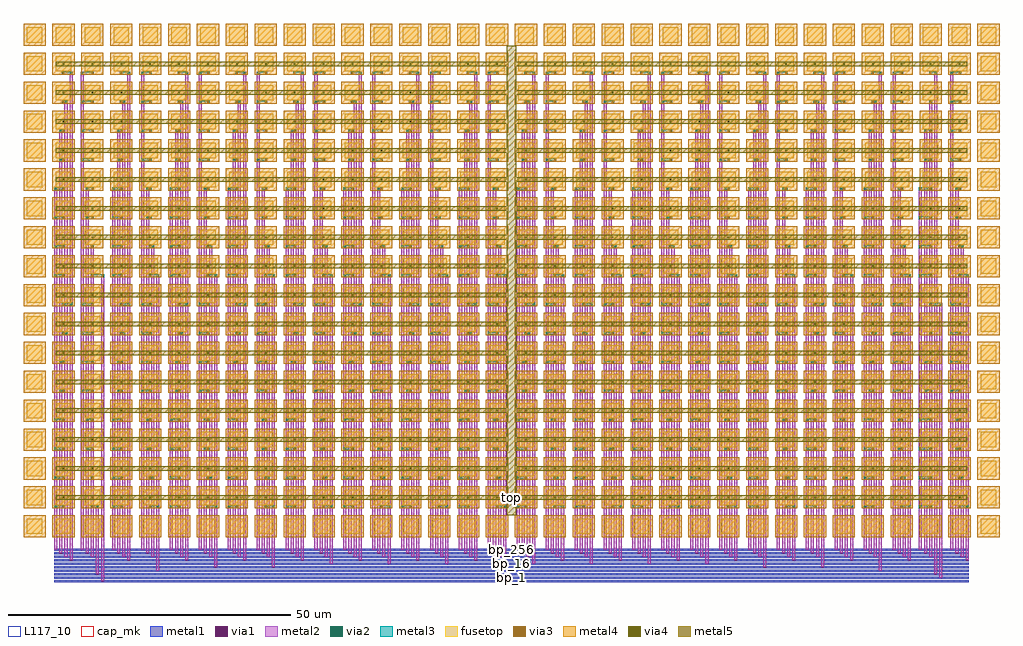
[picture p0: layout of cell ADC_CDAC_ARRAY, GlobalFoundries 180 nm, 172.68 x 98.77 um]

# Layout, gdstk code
import gdstk
lib = gdstk.Library(unit=1e-6, precision=1e-09)
def R(c, l, rs):  # rectangles x0, y0, x1, y1
    for r in rs: c.add(gdstk.rectangle(r[:2], r[2:], *l))
def A(c, l, x, y, w, h, nx, ny, dx, dy):  # array of equal rectangles
    R(c, l, [(x+i*dx, y+j*dy, x+i*dx+w, y+j*dy+h) for i in range(nx) for j in range(ny)])
metal1 = (34, 0)
via1 = (35, 0)
metal2 = (36, 0)
via2 = (38, 0)
via3 = (40, 0)
via4 = (41, 0)
metal3 = (42, 0)
metal4 = (46, 0)
fusetop = (75, 0)
metal5 = (81, 0)
cap_mk = (117, 5)
L117_10 = (117, 10)

adc_cdac_array = lib.new_cell('ADC_CDAC_ARRAY')
A(adc_cdac_array, metal1, 0.327, -13.034, 161.794, 0.34, 1, 10, 0, 0.62)
A(adc_cdac_array, via1, 49.203, -9.894, 0.26, 0.26, 4, 1, 10.228, 0)
A(adc_cdac_array, via1, 85.001, -9.894, 0.26, 0.26, 4, 1, 10.228, 0)
A(adc_cdac_array, via1, 3.177, -9.274, 0.26, 0.26, 8, 1, 10.228, 0)
A(adc_cdac_array, via1, 90.115, -9.274, 0.26, 0.26, 8, 1, 10.228, 0)
A(adc_cdac_array, via1, 12.505, -8.654, 0.26, 0.26, 28, 1, 5.114, 0)
A(adc_cdac_array, via1, 11.605, -8.034, 0.26, 0.26, 28, 1, 5.114, 0)
A(adc_cdac_array, via1, 10.705, -7.414, 0.26, 0.26, 28, 1, 5.114, 0)
R(adc_cdac_array, via1, [(8.741,-12.994,9.001,-12.734), (157.047,-12.374,157.307,-12.114), (7.841,-11.754,8.101,-11.494), (156.147,-11.754,156.407,-11.494), (18.519,-11.134,18.779,-10.874), (146.369,-11.134,146.629,-10.874), (28.747,-10.514,29.007,-10.254), (38.975,-10.514,39.235,-10.254), (125.913,-10.514,126.173,-10.254), (136.141,-10.514,136.401,-10.254), (2.277,-8.654,2.537,-8.394), (6.941,-8.654,7.201,-8.394), (155.247,-8.654,155.507,-8.394), (160.811,-8.654,161.071,-8.394), (1.377,-8.034,1.637,-7.774), (6.041,-8.034,6.301,-7.774), (154.347,-8.034,154.607,-7.774), (159.911,-8.034,160.171,-7.774), (0.477,-7.414,0.737,-7.154), (5.141,-7.414,5.401,-7.154), (153.447,-7.414,153.707,-7.154), (159.011,-7.414,159.271,-7.154)])
A(adc_cdac_array, metal2, 49.063, -9.764, 0.54, 50.976, 4, 1, 10.228, 0)
A(adc_cdac_array, metal2, 84.861, -9.764, 0.54, 86.774, 4, 1, 10.228, 0)
A(adc_cdac_array, metal2, 3.037, -9.144, 0.54, 86.154, 8, 1, 10.228, 0)
A(adc_cdac_array, metal2, 89.975, -9.144, 0.54, 50.356, 8, 1, 10.228, 0)
A(adc_cdac_array, metal2, 2.137, -8.524, 0.54, 80.42, 15, 1, 10.228, 0)
A(adc_cdac_array, metal2, 17.479, -8.524, 0.54, 54.85, 15, 1, 10.228, 0)
A(adc_cdac_array, metal2, 1.237, -7.904, 0.54, 74.686, 15, 1, 10.228, 0)
A(adc_cdac_array, metal2, 16.579, -7.904, 0.54, 64.458, 15, 1, 10.228, 0)
A(adc_cdac_array, metal2, 0.337, -7.284, 0.54, 63.838, 15, 1, 10.228, 0)
A(adc_cdac_array, metal2, 15.679, -7.284, 0.54, 84.294, 15, 1, 10.228, 0)
R(adc_cdac_array, metal2, [(8.601,-12.864,9.141,41.212), (156.907,-12.244,157.447,36.098), (7.701,-11.624,8.241,0.3), (156.007,-11.624,156.547,77.01), (18.379,-11.004,18.919,41.212), (146.229,-11.004,146.769,77.01), (28.607,-10.384,29.147,41.212), (38.835,-10.384,39.375,41.212), (125.773,-10.384,126.313,77.01), (136.001,-10.384,136.541,77.01), (6.801,-8.524,7.341,46.326), (155.107,-8.524,155.647,71.896), (5.901,-7.904,6.441,56.554), (154.207,-7.904,154.747,66.782), (5.001,-7.284,5.541,77.01), (153.307,-7.284,153.847,56.554)])
A(adc_cdac_array, via2, 0.477, 0.17, 0.26, 0.26, 1, 4, 0, 5.114)
A(adc_cdac_array, via2, 10.705, 0.17, 0.26, 0.26, 1, 4, 0, 5.114)
A(adc_cdac_array, via2, 20.933, 0.17, 0.26, 0.26, 1, 4, 0, 5.114)
A(adc_cdac_array, via2, 31.161, 0.17, 0.26, 0.26, 1, 4, 0, 5.114)
A(adc_cdac_array, via2, 41.389, 0.17, 0.26, 0.26, 1, 4, 0, 5.114)
A(adc_cdac_array, via2, 51.617, 0.17, 0.26, 0.26, 1, 4, 0, 5.114)
A(adc_cdac_array, via2, 61.845, 0.17, 0.26, 0.26, 1, 4, 0, 5.114)
A(adc_cdac_array, via2, 72.073, 0.17, 0.26, 0.26, 1, 4, 0, 5.114)
A(adc_cdac_array, via2, 82.301, 0.17, 0.26, 0.26, 1, 4, 0, 5.114)
A(adc_cdac_array, via2, 92.529, 0.17, 0.26, 0.26, 1, 4, 0, 5.114)
A(adc_cdac_array, via2, 102.757, 0.17, 0.26, 0.26, 1, 4, 0, 5.114)
A(adc_cdac_array, via2, 112.985, 0.17, 0.26, 0.26, 1, 4, 0, 5.114)
A(adc_cdac_array, via2, 123.213, 0.17, 0.26, 0.26, 1, 4, 0, 5.114)
A(adc_cdac_array, via2, 133.441, 0.17, 0.26, 0.26, 1, 4, 0, 5.114)
A(adc_cdac_array, via2, 143.669, 0.17, 0.26, 0.26, 1, 4, 0, 5.114)
A(adc_cdac_array, via2, 153.447, 0.17, 0.26, 0.26, 1, 4, 0, 5.114)
A(adc_cdac_array, via2, 5.141, 20.626, 0.26, 0.26, 1, 4, 0, 5.114)
A(adc_cdac_array, via2, 15.819, 20.626, 0.26, 0.26, 1, 4, 0, 5.114)
A(adc_cdac_array, via2, 26.047, 20.626, 0.26, 0.26, 1, 4, 0, 5.114)
A(adc_cdac_array, via2, 36.275, 20.626, 0.26, 0.26, 1, 4, 0, 5.114)
A(adc_cdac_array, via2, 46.503, 20.626, 0.26, 0.26, 1, 4, 0, 5.114)
A(adc_cdac_array, via2, 56.731, 20.626, 0.26, 0.26, 1, 4, 0, 5.114)
A(adc_cdac_array, via2, 66.959, 20.626, 0.26, 0.26, 1, 4, 0, 5.114)
A(adc_cdac_array, via2, 77.187, 20.626, 0.26, 0.26, 1, 4, 0, 5.114)
A(adc_cdac_array, via2, 87.415, 20.626, 0.26, 0.26, 1, 4, 0, 5.114)
A(adc_cdac_array, via2, 97.643, 20.626, 0.26, 0.26, 1, 4, 0, 5.114)
A(adc_cdac_array, via2, 107.871, 20.626, 0.26, 0.26, 1, 4, 0, 5.114)
A(adc_cdac_array, via2, 118.099, 20.626, 0.26, 0.26, 1, 4, 0, 5.114)
A(adc_cdac_array, via2, 128.327, 20.626, 0.26, 0.26, 1, 4, 0, 5.114)
A(adc_cdac_array, via2, 138.555, 20.626, 0.26, 0.26, 1, 4, 0, 5.114)
A(adc_cdac_array, via2, 148.783, 20.626, 0.26, 0.26, 1, 4, 0, 5.114)
A(adc_cdac_array, via2, 159.011, 20.626, 0.26, 0.26, 1, 4, 0, 5.114)
A(adc_cdac_array, via2, 0.477, 41.082, 0.26, 0.26, 1, 4, 0, 5.114)
A(adc_cdac_array, via2, 10.705, 41.082, 0.26, 0.26, 1, 4, 0, 5.114)
A(adc_cdac_array, via2, 20.933, 41.082, 0.26, 0.26, 1, 4, 0, 5.114)
A(adc_cdac_array, via2, 31.161, 41.082, 0.26, 0.26, 1, 4, 0, 5.114)
A(adc_cdac_array, via2, 41.389, 41.082, 0.26, 0.26, 1, 4, 0, 5.114)
A(adc_cdac_array, via2, 51.617, 41.082, 0.26, 0.26, 1, 4, 0, 5.114)
A(adc_cdac_array, via2, 61.845, 41.082, 0.26, 0.26, 1, 4, 0, 5.114)
A(adc_cdac_array, via2, 72.073, 41.082, 0.26, 0.26, 1, 4, 0, 5.114)
A(adc_cdac_array, via2, 82.301, 41.082, 0.26, 0.26, 1, 4, 0, 5.114)
A(adc_cdac_array, via2, 92.529, 41.082, 0.26, 0.26, 1, 4, 0, 5.114)
A(adc_cdac_array, via2, 102.757, 41.082, 0.26, 0.26, 1, 4, 0, 5.114)
A(adc_cdac_array, via2, 112.985, 41.082, 0.26, 0.26, 1, 4, 0, 5.114)
A(adc_cdac_array, via2, 123.213, 41.082, 0.26, 0.26, 1, 4, 0, 5.114)
A(adc_cdac_array, via2, 133.441, 41.082, 0.26, 0.26, 1, 4, 0, 5.114)
A(adc_cdac_array, via2, 143.669, 41.082, 0.26, 0.26, 1, 4, 0, 5.114)
A(adc_cdac_array, via2, 153.447, 41.082, 0.26, 0.26, 1, 4, 0, 5.114)
A(adc_cdac_array, via2, 5.141, 61.538, 0.26, 0.26, 1, 4, 0, 5.114)
A(adc_cdac_array, via2, 15.819, 61.538, 0.26, 0.26, 1, 4, 0, 5.114)
A(adc_cdac_array, via2, 26.047, 61.538, 0.26, 0.26, 1, 4, 0, 5.114)
A(adc_cdac_array, via2, 36.275, 61.538, 0.26, 0.26, 1, 4, 0, 5.114)
A(adc_cdac_array, via2, 46.503, 61.538, 0.26, 0.26, 1, 4, 0, 5.114)
A(adc_cdac_array, via2, 56.731, 61.538, 0.26, 0.26, 1, 4, 0, 5.114)
A(adc_cdac_array, via2, 66.959, 61.538, 0.26, 0.26, 1, 4, 0, 5.114)
A(adc_cdac_array, via2, 77.187, 61.538, 0.26, 0.26, 1, 4, 0, 5.114)
A(adc_cdac_array, via2, 87.415, 61.538, 0.26, 0.26, 1, 4, 0, 5.114)
A(adc_cdac_array, via2, 97.643, 61.538, 0.26, 0.26, 1, 4, 0, 5.114)
A(adc_cdac_array, via2, 107.871, 61.538, 0.26, 0.26, 1, 4, 0, 5.114)
A(adc_cdac_array, via2, 118.099, 61.538, 0.26, 0.26, 1, 4, 0, 5.114)
A(adc_cdac_array, via2, 128.327, 61.538, 0.26, 0.26, 1, 4, 0, 5.114)
A(adc_cdac_array, via2, 138.555, 61.538, 0.26, 0.26, 1, 4, 0, 5.114)
A(adc_cdac_array, via2, 148.783, 61.538, 0.26, 0.26, 1, 4, 0, 5.114)
A(adc_cdac_array, via2, 159.011, 61.538, 0.26, 0.26, 1, 4, 0, 5.114)
R(adc_cdac_array, via2, [(7.841,0.17,8.101,0.43), (18.519,0.17,18.779,0.43), (28.747,0.17,29.007,0.43), (38.975,0.17,39.235,0.43), (49.203,0.17,49.463,0.43), (59.431,0.17,59.691,0.43), (69.659,0.17,69.919,0.43), (79.887,0.17,80.147,0.43), (90.115,0.17,90.375,0.43), (100.343,0.17,100.603,0.43), (110.571,0.17,110.831,0.43), (120.799,0.17,121.059,0.43), (131.027,0.17,131.287,0.43), (141.255,0.17,141.515,0.43), (151.483,0.17,151.743,0.43), (161.711,0.17,161.971,0.43), (6.941,5.284,7.201,5.544), (17.619,5.284,17.879,5.544), (27.847,5.284,28.107,5.544), (38.075,5.284,38.335,5.544), (48.303,5.284,48.563,5.544), (58.531,5.284,58.791,5.544), (68.759,5.284,69.019,5.544), (78.987,5.284,79.247,5.544), (89.215,5.284,89.475,5.544), (99.443,5.284,99.703,5.544), (109.671,5.284,109.931,5.544), (119.899,5.284,120.159,5.544), (130.127,5.284,130.387,5.544), (140.355,5.284,140.615,5.544), (150.583,5.284,150.843,5.544), (160.811,5.284,161.071,5.544), (6.041,10.398,6.301,10.658), (16.719,10.398,16.979,10.658), (26.947,10.398,27.207,10.658), (37.175,10.398,37.435,10.658), (47.403,10.398,47.663,10.658), (57.631,10.398,57.891,10.658), (67.859,10.398,68.119,10.658), (78.087,10.398,78.347,10.658), (88.315,10.398,88.575,10.658), (98.543,10.398,98.803,10.658), (108.771,10.398,109.031,10.658), (118.999,10.398,119.259,10.658), (129.227,10.398,129.487,10.658), (139.455,10.398,139.715,10.658), (149.683,10.398,149.943,10.658), (159.911,10.398,160.171,10.658), (6.041,15.512,6.301,15.772), (16.719,15.512,16.979,15.772), (26.947,15.512,27.207,15.772), (37.175,15.512,37.435,15.772), (47.403,15.512,47.663,15.772), (57.631,15.512,57.891,15.772), (67.859,15.512,68.119,15.772), (78.087,15.512,78.347,15.772), (88.315,15.512,88.575,15.772), (98.543,15.512,98.803,15.772), (108.771,15.512,109.031,15.772), (118.999,15.512,119.259,15.772), (129.227,15.512,129.487,15.772), (139.455,15.512,139.715,15.772), (149.683,15.512,149.943,15.772), (159.911,15.512,160.171,15.772), (1.377,20.626,1.637,20.886), (11.605,20.626,11.865,20.886), (21.833,20.626,22.093,20.886), (32.061,20.626,32.321,20.886), (42.289,20.626,42.549,20.886), (52.517,20.626,52.777,20.886), (62.745,20.626,63.005,20.886), (72.973,20.626,73.233,20.886), (83.201,20.626,83.461,20.886), (93.429,20.626,93.689,20.886), (103.657,20.626,103.917,20.886), (113.885,20.626,114.145,20.886), (124.113,20.626,124.373,20.886), (134.341,20.626,134.601,20.886), (144.569,20.626,144.829,20.886), (154.347,20.626,154.607,20.886), (1.377,25.74,1.637,26), (11.605,25.74,11.865,26), (21.833,25.74,22.093,26), (32.061,25.74,32.321,26), (42.289,25.74,42.549,26), (52.517,25.74,52.777,26), (62.745,25.74,63.005,26), (72.973,25.74,73.233,26), (83.201,25.74,83.461,26), (93.429,25.74,93.689,26), (103.657,25.74,103.917,26), (113.885,25.74,114.145,26), (124.113,25.74,124.373,26), (134.341,25.74,134.601,26), (144.569,25.74,144.829,26), (154.347,25.74,154.607,26), (2.277,30.854,2.537,31.114), (12.505,30.854,12.765,31.114), (22.733,30.854,22.993,31.114), (32.961,30.854,33.221,31.114), (43.189,30.854,43.449,31.114), (53.417,30.854,53.677,31.114), (63.645,30.854,63.905,31.114), (73.873,30.854,74.133,31.114), (84.101,30.854,84.361,31.114), (94.329,30.854,94.589,31.114), (104.557,30.854,104.817,31.114), (114.785,30.854,115.045,31.114), (125.013,30.854,125.273,31.114), (135.241,30.854,135.501,31.114), (145.469,30.854,145.729,31.114), (155.247,30.854,155.507,31.114), (3.177,35.968,3.437,36.228), (13.405,35.968,13.665,36.228), (23.633,35.968,23.893,36.228), (33.861,35.968,34.121,36.228), (44.089,35.968,44.349,36.228), (54.317,35.968,54.577,36.228), (64.545,35.968,64.805,36.228), (74.773,35.968,75.033,36.228), (85.001,35.968,85.261,36.228), (95.229,35.968,95.489,36.228), (105.457,35.968,105.717,36.228), (115.685,35.968,115.945,36.228), (125.913,35.968,126.173,36.228), (136.141,35.968,136.401,36.228), (146.369,35.968,146.629,36.228), (157.047,35.968,157.307,36.228), (8.741,41.082,9.001,41.342), (18.519,41.082,18.779,41.342), (28.747,41.082,29.007,41.342), (38.975,41.082,39.235,41.342), (49.203,41.082,49.463,41.342), (59.431,41.082,59.691,41.342), (69.659,41.082,69.919,41.342), (79.887,41.082,80.147,41.342), (90.115,41.082,90.375,41.342), (100.343,41.082,100.603,41.342), (110.571,41.082,110.831,41.342), (120.799,41.082,121.059,41.342), (131.027,41.082,131.287,41.342), (141.255,41.082,141.515,41.342), (151.483,41.082,151.743,41.342), (161.711,41.082,161.971,41.342), (6.941,46.196,7.201,46.456), (17.619,46.196,17.879,46.456), (27.847,46.196,28.107,46.456), (38.075,46.196,38.335,46.456), (48.303,46.196,48.563,46.456), (58.531,46.196,58.791,46.456), (68.759,46.196,69.019,46.456), (78.987,46.196,79.247,46.456), (89.215,46.196,89.475,46.456), (99.443,46.196,99.703,46.456), (109.671,46.196,109.931,46.456), (119.899,46.196,120.159,46.456), (130.127,46.196,130.387,46.456), (140.355,46.196,140.615,46.456), (150.583,46.196,150.843,46.456), (160.811,46.196,161.071,46.456), (6.041,51.31,6.301,51.57), (16.719,51.31,16.979,51.57), (26.947,51.31,27.207,51.57), (37.175,51.31,37.435,51.57), (47.403,51.31,47.663,51.57), (57.631,51.31,57.891,51.57), (67.859,51.31,68.119,51.57), (78.087,51.31,78.347,51.57), (88.315,51.31,88.575,51.57), (98.543,51.31,98.803,51.57), (108.771,51.31,109.031,51.57), (118.999,51.31,119.259,51.57), (129.227,51.31,129.487,51.57), (139.455,51.31,139.715,51.57), (149.683,51.31,149.943,51.57), (159.911,51.31,160.171,51.57), (6.041,56.424,6.301,56.684), (16.719,56.424,16.979,56.684), (26.947,56.424,27.207,56.684), (37.175,56.424,37.435,56.684), (47.403,56.424,47.663,56.684), (57.631,56.424,57.891,56.684), (67.859,56.424,68.119,56.684), (78.087,56.424,78.347,56.684), (88.315,56.424,88.575,56.684), (98.543,56.424,98.803,56.684), (108.771,56.424,109.031,56.684), (118.999,56.424,119.259,56.684), (129.227,56.424,129.487,56.684), (139.455,56.424,139.715,56.684), (149.683,56.424,149.943,56.684), (159.911,56.424,160.171,56.684), (1.377,61.538,1.637,61.798), (11.605,61.538,11.865,61.798), (21.833,61.538,22.093,61.798), (32.061,61.538,32.321,61.798), (42.289,61.538,42.549,61.798), (52.517,61.538,52.777,61.798), (62.745,61.538,63.005,61.798), (72.973,61.538,73.233,61.798), (83.201,61.538,83.461,61.798), (93.429,61.538,93.689,61.798), (103.657,61.538,103.917,61.798), (113.885,61.538,114.145,61.798), (124.113,61.538,124.373,61.798), (134.341,61.538,134.601,61.798), (144.569,61.538,144.829,61.798), (154.347,61.538,154.607,61.798), (1.377,66.652,1.637,66.912), (11.605,66.652,11.865,66.912), (21.833,66.652,22.093,66.912), (32.061,66.652,32.321,66.912), (42.289,66.652,42.549,66.912), (52.517,66.652,52.777,66.912), (62.745,66.652,63.005,66.912), (72.973,66.652,73.233,66.912), (83.201,66.652,83.461,66.912), (93.429,66.652,93.689,66.912), (103.657,66.652,103.917,66.912), (113.885,66.652,114.145,66.912), (124.113,66.652,124.373,66.912), (134.341,66.652,134.601,66.912), (144.569,66.652,144.829,66.912), (154.347,66.652,154.607,66.912), (2.277,71.766,2.537,72.026), (12.505,71.766,12.765,72.026), (22.733,71.766,22.993,72.026), (32.961,71.766,33.221,72.026), (43.189,71.766,43.449,72.026), (53.417,71.766,53.677,72.026), (63.645,71.766,63.905,72.026), (73.873,71.766,74.133,72.026), (84.101,71.766,84.361,72.026), (94.329,71.766,94.589,72.026), (104.557,71.766,104.817,72.026), (114.785,71.766,115.045,72.026), (125.013,71.766,125.273,72.026), (135.241,71.766,135.501,72.026), (145.469,71.766,145.729,72.026), (155.247,71.766,155.507,72.026), (3.177,76.88,3.437,77.14), (13.405,76.88,13.665,77.14), (23.633,76.88,23.893,77.14), (33.861,76.88,34.121,77.14), (44.089,76.88,44.349,77.14), (54.317,76.88,54.577,77.14), (64.545,76.88,64.805,77.14), (74.773,76.88,75.033,77.14), (85.001,76.88,85.261,77.14), (95.229,76.88,95.489,77.14), (105.457,76.88,105.717,77.14), (115.685,76.88,115.945,77.14), (125.913,76.88,126.173,77.14), (136.141,76.88,136.401,77.14), (146.369,76.88,146.629,77.14), (156.147,76.88,156.407,77.14)])
A(adc_cdac_array, via3, 1.827, 0.17, 0.26, 0.26, 32, 16, 5.114, 5.114)
A(adc_cdac_array, via4, 1.827, 1.827, 0.26, 0.26, 32, 16, 5.114, 5.114)
A(adc_cdac_array, metal3, 153.307, 0.03, 2.34, 0.54, 1, 4, 0, 5.114)
A(adc_cdac_array, metal3, 0.337, 5.144, 1.89, 0.54, 15, 3, 10.228, 5.114)
A(adc_cdac_array, metal3, 17.029, 5.144, 0.99, 0.54, 15, 2, 10.228, 40.912)
A(adc_cdac_array, metal3, 16.579, 10.258, 0.99, 0.54, 15, 2, 10.228, 5.114)
A(adc_cdac_array, metal3, 1.237, 20.486, 0.99, 0.54, 15, 2, 10.228, 5.114)
A(adc_cdac_array, metal3, 5.001, 20.486, 2.34, 0.54, 1, 4, 0, 5.114)
A(adc_cdac_array, metal3, 15.679, 20.486, 1.89, 0.54, 15, 3, 10.228, 5.114)
A(adc_cdac_array, metal3, 1.687, 30.714, 0.99, 0.54, 15, 2, 10.228, 40.912)
A(adc_cdac_array, metal3, 153.307, 40.942, 2.34, 0.54, 1, 4, 0, 5.114)
A(adc_cdac_array, metal3, 0.337, 46.056, 1.89, 0.54, 15, 3, 10.228, 5.114)
A(adc_cdac_array, metal3, 16.579, 51.17, 0.99, 0.54, 15, 2, 10.228, 5.114)
A(adc_cdac_array, metal3, 1.237, 61.398, 0.99, 0.54, 15, 2, 10.228, 5.114)
A(adc_cdac_array, metal3, 5.001, 61.398, 2.34, 0.54, 1, 4, 0, 5.114)
A(adc_cdac_array, metal3, 15.679, 61.398, 1.89, 0.54, 15, 3, 10.228, 5.114)
R(adc_cdac_array, metal3, [(0.337,0.03,2.227,0.57), (6.801,0.03,8.241,0.57), (10.565,0.03,12.455,0.57), (17.029,0.03,18.919,0.57), (20.793,0.03,22.683,0.57), (27.257,0.03,29.147,0.57), (31.021,0.03,32.911,0.57), (37.485,0.03,39.375,0.57), (41.249,0.03,43.139,0.57), (47.713,0.03,49.603,0.57), (51.477,0.03,53.367,0.57), (57.941,0.03,59.831,0.57), (61.705,0.03,63.595,0.57), (68.169,0.03,70.059,0.57), (71.933,0.03,73.823,0.57), (78.397,0.03,80.287,0.57), (82.161,0.03,84.051,0.57), (88.625,0.03,90.515,0.57), (92.389,0.03,94.279,0.57), (98.853,0.03,100.743,0.57), (102.617,0.03,104.507,0.57), (109.081,0.03,110.971,0.57), (112.845,0.03,114.735,0.57), (119.309,0.03,121.199,0.57), (123.073,0.03,124.963,0.57), (129.537,0.03,131.427,0.57), (133.301,0.03,135.191,0.57), (139.765,0.03,141.655,0.57), (143.529,0.03,145.419,0.57), (149.993,0.03,151.883,0.57), (160.221,0.03,162.111,0.57), (6.801,5.144,7.341,5.684), (5.901,10.258,7.341,10.798), (5.901,15.372,7.341,15.912), (154.207,20.486,155.647,21.026), (154.207,25.6,155.647,26.14), (155.107,30.714,155.647,31.254), (1.687,35.828,3.577,36.368), (11.915,35.828,13.805,36.368), (15.679,35.828,17.569,36.368), (22.143,35.828,24.033,36.368), (25.907,35.828,27.797,36.368), (32.371,35.828,34.261,36.368), (36.135,35.828,38.025,36.368), (42.599,35.828,44.489,36.368), (46.363,35.828,48.253,36.368), (52.827,35.828,54.717,36.368), (56.591,35.828,58.481,36.368), (63.055,35.828,64.945,36.368), (66.819,35.828,68.709,36.368), (73.283,35.828,75.173,36.368), (77.047,35.828,78.937,36.368), (83.511,35.828,85.401,36.368), (87.275,35.828,89.165,36.368), (93.739,35.828,95.629,36.368), (97.503,35.828,99.393,36.368), (103.967,35.828,105.857,36.368), (107.731,35.828,109.621,36.368), (114.195,35.828,116.085,36.368), (117.959,35.828,119.849,36.368), (124.423,35.828,126.313,36.368), (128.187,35.828,130.077,36.368), (134.651,35.828,136.541,36.368), (138.415,35.828,140.305,36.368), (144.879,35.828,146.769,36.368), (148.643,35.828,150.533,36.368), (155.107,35.828,157.447,36.368), (158.871,35.828,160.761,36.368), (0.337,40.942,2.227,41.482), (6.801,40.942,9.141,41.482), (10.565,40.942,12.455,41.482), (17.029,40.942,18.919,41.482), (20.793,40.942,22.683,41.482), (27.257,40.942,29.147,41.482), (31.021,40.942,32.911,41.482), (37.485,40.942,39.375,41.482), (41.249,40.942,43.139,41.482), (47.713,40.942,49.603,41.482), (51.477,40.942,53.367,41.482), (57.941,40.942,59.831,41.482), (61.705,40.942,63.595,41.482), (68.169,40.942,70.059,41.482), (71.933,40.942,73.823,41.482), (78.397,40.942,80.287,41.482), (82.161,40.942,84.051,41.482), (88.625,40.942,90.515,41.482), (92.389,40.942,94.279,41.482), (98.853,40.942,100.743,41.482), (102.617,40.942,104.507,41.482), (109.081,40.942,110.971,41.482), (112.845,40.942,114.735,41.482), (119.309,40.942,121.199,41.482), (123.073,40.942,124.963,41.482), (129.537,40.942,131.427,41.482), (133.301,40.942,135.191,41.482), (139.765,40.942,141.655,41.482), (143.529,40.942,145.419,41.482), (149.993,40.942,151.883,41.482), (160.221,40.942,162.111,41.482), (6.801,46.056,7.341,46.596), (5.901,51.17,7.341,51.71), (5.901,56.284,7.341,56.824), (154.207,61.398,155.647,61.938), (154.207,66.512,155.647,67.052), (155.107,71.626,155.647,72.166), (1.687,76.74,3.577,77.28), (11.915,76.74,13.805,77.28), (15.679,76.74,17.569,77.28), (22.143,76.74,24.033,77.28), (25.907,76.74,27.797,77.28), (32.371,76.74,34.261,77.28), (36.135,76.74,38.025,77.28), (42.599,76.74,44.489,77.28), (46.363,76.74,48.253,77.28), (52.827,76.74,54.717,77.28), (56.591,76.74,58.481,77.28), (63.055,76.74,64.945,77.28), (66.819,76.74,68.709,77.28), (73.283,76.74,75.173,77.28), (77.047,76.74,78.937,77.28), (83.511,76.74,85.401,77.28), (87.275,76.74,89.165,77.28), (93.739,76.74,95.629,77.28), (97.503,76.74,99.393,77.28), (103.967,76.74,105.857,77.28), (107.731,76.74,109.621,77.28), (114.195,76.74,116.085,77.28), (117.959,76.74,119.849,77.28), (124.423,76.74,126.313,77.28), (128.187,76.74,130.077,77.28), (134.651,76.74,136.541,77.28), (138.415,76.74,140.305,77.28), (144.879,76.74,146.769,77.28), (148.643,76.74,150.533,77.28), (155.107,76.74,156.547,77.28), (158.871,76.74,160.761,77.28)])
A(adc_cdac_array, metal4, -5.114, -5.114, 3.914, 3.914, 34, 18, 5.114, 5.114)
A(adc_cdac_array, fusetop, -4.514, -4.514, 2.714, 2.714, 34, 18, 5.114, 5.114)
A(adc_cdac_array, metal5, 0.6, 1.557, 161.248, 0.8, 1, 16, 0, 5.114)
A(adc_cdac_array, metal5, 1.687, 1.687, 0.54, 0.54, 32, 16, 5.114, 5.114)
R(adc_cdac_array, metal5, [(80.424,-1.2,82.024,81.824)])
A(adc_cdac_array, cap_mk, 0.6, 0.6, 2.714, 2.714, 32, 16, 5.114, 5.114)
A(adc_cdac_array, L117_10, 0.6, 0.6, 2.714, 2.714, 32, 16, 5.114, 5.114)
adc_cdac_array.add(gdstk.Label('bp_256', (81.224,-7.284), layer=34, texttype=10))
adc_cdac_array.add(gdstk.Label('bp_128', (81.224,-7.904), layer=34, texttype=10))
adc_cdac_array.add(gdstk.Label('bp_64', (81.224,-8.524), layer=34, texttype=10))
adc_cdac_array.add(gdstk.Label('bp_32', (81.224,-9.144), layer=34, texttype=10))
adc_cdac_array.add(gdstk.Label('bp_16', (81.224,-9.764), layer=34, texttype=10))
adc_cdac_array.add(gdstk.Label('bp_8', (81.224,-10.384), layer=34, texttype=10))
adc_cdac_array.add(gdstk.Label('bp_4', (81.224,-11.004), layer=34, texttype=10))
adc_cdac_array.add(gdstk.Label('bp_2', (81.224,-11.624), layer=34, texttype=10))
adc_cdac_array.add(gdstk.Label('bp_1', (81.224,-12.244), layer=34, texttype=10))
adc_cdac_array.add(gdstk.Label('bp_term', (81.224,-12.864), layer=34, texttype=10))
adc_cdac_array.add(gdstk.Label('top', (81.224,1.957), layer=81, texttype=10))

lib.write_gds('ADC_CDAC_ARRAY.gds')
